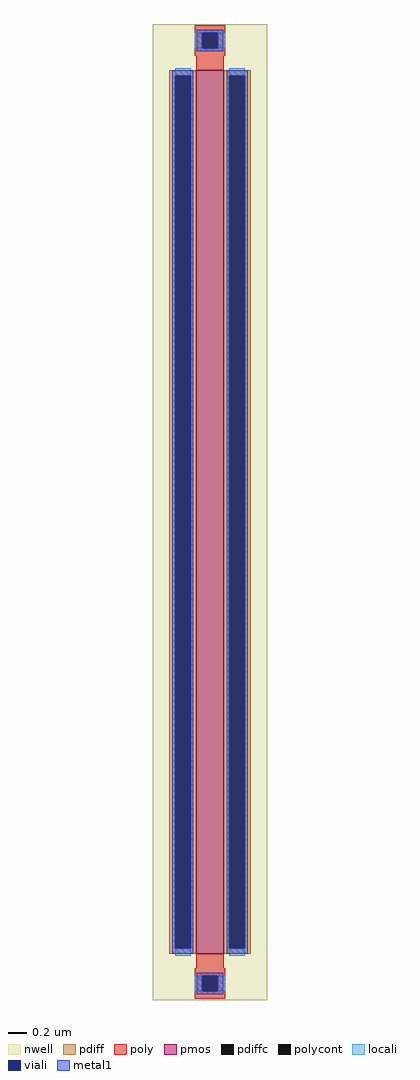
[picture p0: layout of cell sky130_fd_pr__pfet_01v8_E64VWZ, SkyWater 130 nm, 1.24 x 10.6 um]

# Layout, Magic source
magic
tech sky130A
magscale 1 2
<< nwell >>
rect -124 -1060 124 1060
<< pmos >>
rect -30 -960 30 960
<< pdiff >>
rect -88 948 -30 960
rect -88 -948 -76 948
rect -42 -948 -30 948
rect -88 -960 -30 -948
rect 30 948 88 960
rect 30 -948 42 948
rect 76 -948 88 948
rect 30 -960 88 -948
<< pdiffc >>
rect -76 -948 -42 948
rect 42 -948 76 948
<< poly >>
rect -33 1041 33 1057
rect -33 1007 -17 1041
rect 17 1007 33 1041
rect -33 991 33 1007
rect -30 960 30 991
rect -30 -991 30 -960
rect -33 -1007 33 -991
rect -33 -1041 -17 -1007
rect 17 -1041 33 -1007
rect -33 -1057 33 -1041
<< polycont >>
rect -17 1007 17 1041
rect -17 -1041 17 -1007
<< locali >>
rect -33 1007 -17 1041
rect 17 1007 33 1041
rect -76 948 -42 964
rect -76 -964 -42 -948
rect 42 948 76 964
rect 42 -964 76 -948
rect -33 -1041 -17 -1007
rect 17 -1041 33 -1007
<< viali >>
rect -17 1007 17 1041
rect -76 -948 -42 948
rect 42 -948 76 948
rect -17 -1041 17 -1007
<< metal1 >>
rect -29 1041 29 1047
rect -29 1007 -17 1041
rect 17 1007 29 1041
rect -29 1001 29 1007
rect -82 948 -36 960
rect -82 -948 -76 948
rect -42 -948 -36 948
rect -82 -960 -36 -948
rect 36 948 82 960
rect 36 -948 42 948
rect 76 -948 82 948
rect 36 -960 82 -948
rect -29 -1007 29 -1001
rect -29 -1041 -17 -1007
rect 17 -1041 29 -1007
rect -29 -1047 29 -1041
<< properties >>
string gencell sky130_fd_pr__pfet_01v8
string library sky130
string parameters w 9.6 l 0.3 m 1 nf 1 diffcov 100 polycov 100 guard 0 glc 1 grc 1 gtc 1 gbc 1 tbcov 100 rlcov 100 topc 1 botc 1 poverlap 0 doverlap 1 lmin 0.15 wmin 0.42 compatible {sky130_fd_pr__pfet_01v8  sky130_fd_pr__pfet_01v8_lvt sky130_fd_pr__pfet_01v8_hvt  sky130_fd_pr__pfet_g5v0d10v5} full_metal 1 viasrc 100 viadrn 100 viagate 100 viagb 0 viagr 0 viagl 0 viagt 0
<< end >>
